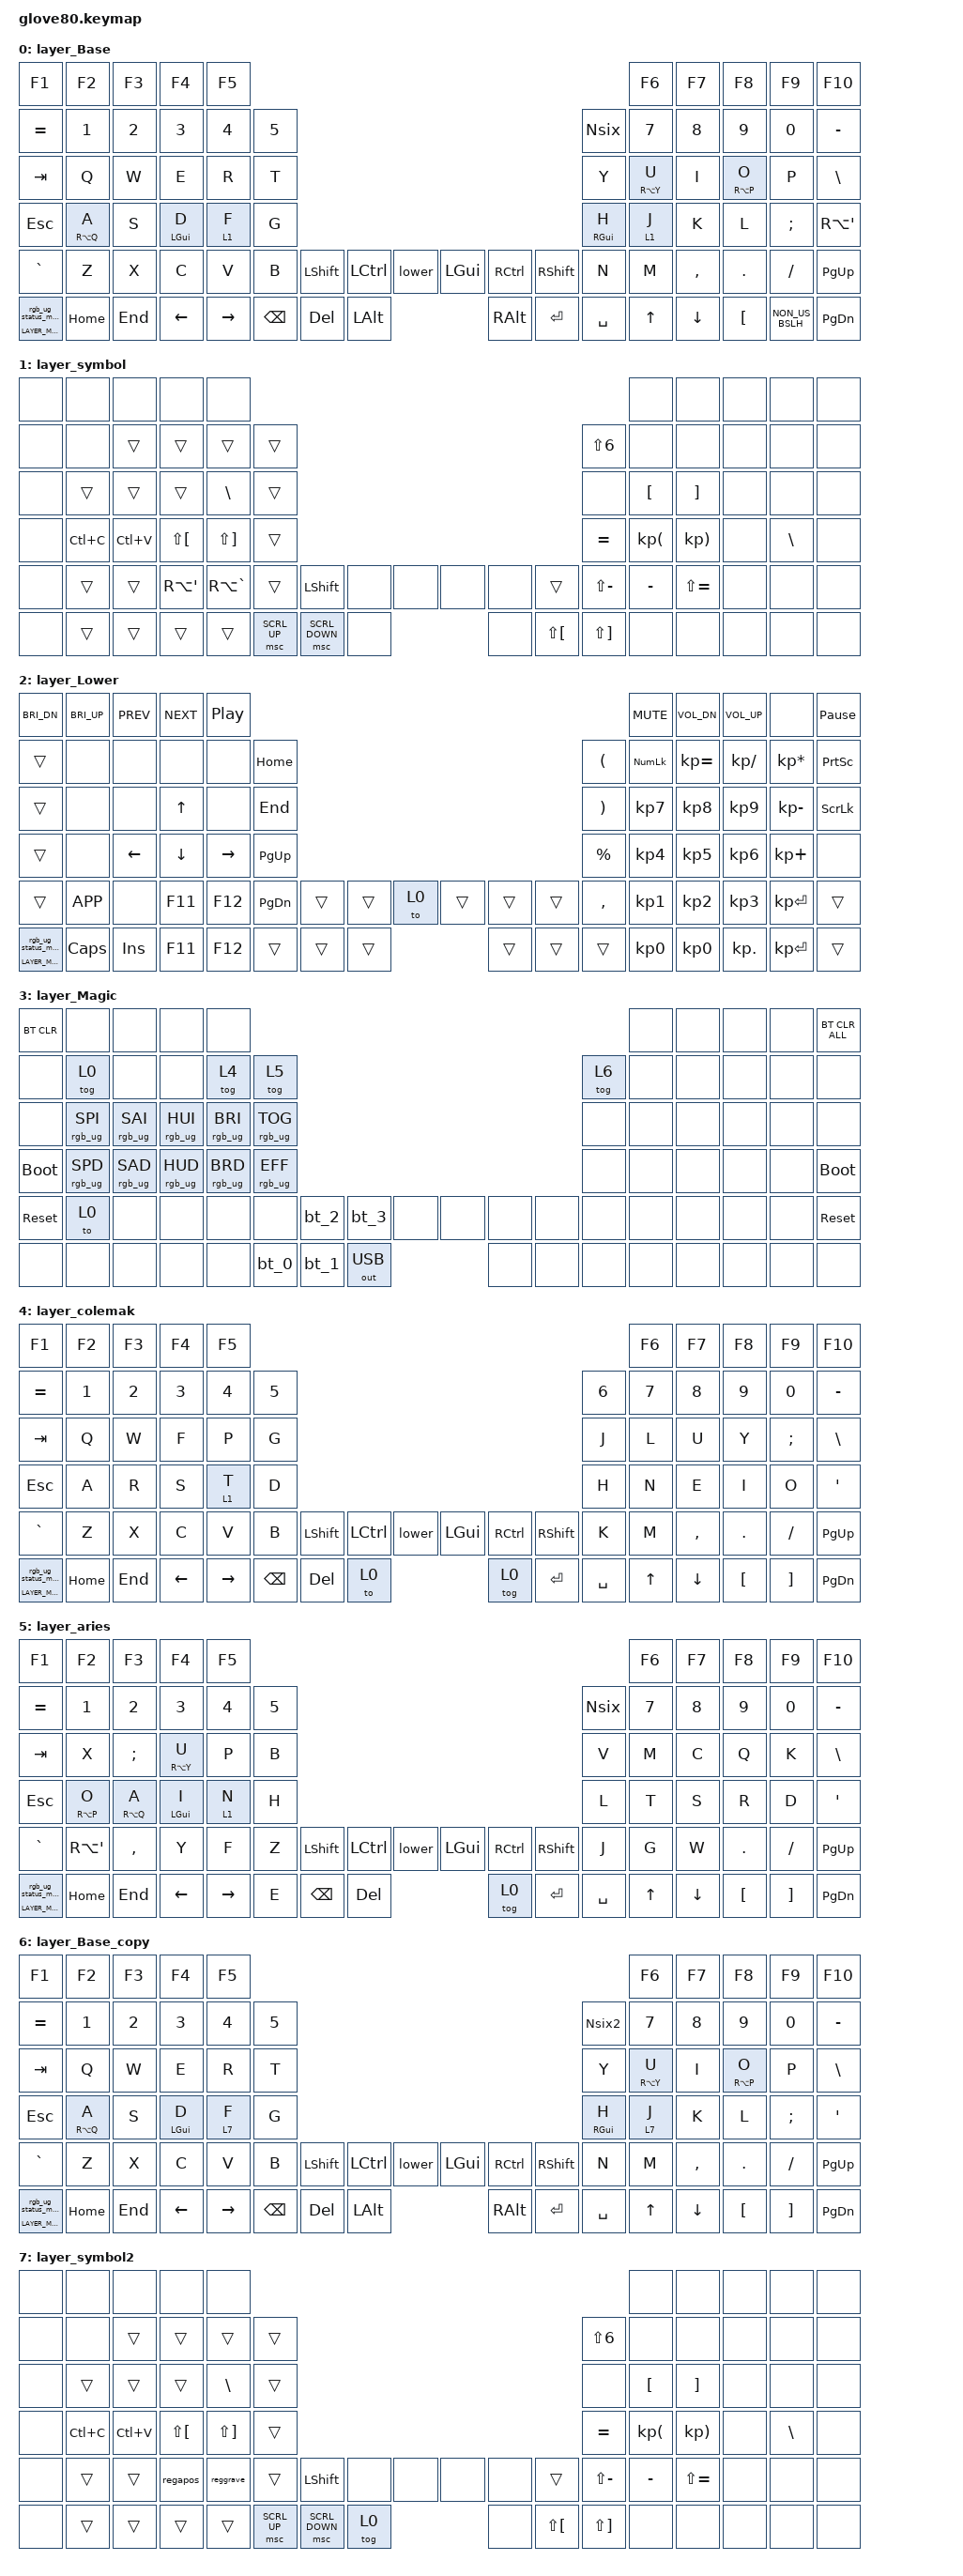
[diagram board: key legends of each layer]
/*
 * Copyright (c) 2020 The ZMK Contributors
 * Copyright (c) 2025 Innaworks Development Limited, trading as MoErgo
 *
 * SPDX-License-Identifier: MIT
 */


/* THIS FILE WAS GENERATED BY GLOVE80 LAYOUT EDITOR
 *
 * This file was generated automatically. You may or may not want to
 * edit it directly.
 */

#include <behaviors.dtsi>
/* Include all behavior includes needed */
#include <dt-bindings/zmk/outputs.h>
#include <dt-bindings/zmk/keys.h>
#include <dt-bindings/zmk/bt.h>
#include <dt-bindings/zmk/rgb.h>

/* On demand includes */
#include <dt-bindings/zmk/pointing.h>

/* Automatically generated layer name #define */
#define LAYER_Base 0
#define LAYER_symbol 1
#define LAYER_Lower 2
#define LAYER_Magic 3
#define LAYER_colemak 4
#define LAYER_aries 5
#define LAYER_Base_copy 6
#define LAYER_symbol2 7

/* To deal with the situation where there is no Lower layer, to keep &lower happy */
#ifndef LAYER_Lower
#define LAYER_Lower 0
#endif

/* Custom Device-tree */


/* Input Listeners */


/* System behavior and Macros */
/ {
    behaviors {
        // For the "layer" key, it'd nice to be able to use it as either a shift or a toggle.
        // Configure it as a tap dance, so the first tap (or hold) is a &mo and the second tap is a &to
        lower: lower {
            compatible = "zmk,behavior-tap-dance";
            label = "LAYER_TAP_DANCE";
            #binding-cells = <0>;
            tapping-term-ms = <200>;
            bindings = <&mo LAYER_Lower>, <&to LAYER_Lower>;
        };
    };
};

/ {
    macros {
        rgb_ug_status_macro: rgb_ug_status_macro {
            label = "RGB_UG_STATUS";
            compatible = "zmk,behavior-macro";
            #binding-cells = <0>;
            bindings
                = <&rgb_ug RGB_STATUS>;
        };
    };
};


/ {
#ifdef BT_DISC_CMD
    behaviors {
        bt_0: bt_0 {
            compatible = "zmk,behavior-tap-dance";
            label = "BT_0";
            #binding-cells = <0>;
            tapping-term-ms = <200>;
            bindings = <&bt_select_0>, <&bt BT_DISC 0>;
        };
        bt_1: bt_1 {
            compatible = "zmk,behavior-tap-dance";
            label = "BT_1";
            #binding-cells = <0>;
            tapping-term-ms = <200>;
            bindings = <&bt_select_1>, <&bt BT_DISC 1>;
        };
        bt_2: bt_2 {
            compatible = "zmk,behavior-tap-dance";
            label = "BT_2";
            #binding-cells = <0>;
            tapping-term-ms = <200>;
            bindings = <&bt_select_2>, <&bt BT_DISC 2>;
        };
        bt_3: bt_3 {
            compatible = "zmk,behavior-tap-dance";
            label = "BT_3";
            #binding-cells = <0>;
            tapping-term-ms = <200>;
            bindings = <&bt_select_3>, <&bt BT_DISC 3>;
        };
    };
    macros {
        bt_select_0: bt_select_0 {
            label = "BT_SELECT_0";
            compatible = "zmk,behavior-macro";
            #binding-cells = <0>;
            bindings
                = <&out OUT_BLE>,
                  <&bt BT_SEL 0>;
        };
        bt_select_1: bt_select_1 {
            label = "BT_SELECT_1";
            compatible = "zmk,behavior-macro";
            #binding-cells = <0>;
            bindings
                = <&out OUT_BLE>,
                  <&bt BT_SEL 1>;
        };
        bt_select_2: bt_select_2 {
            label = "BT_SELECT_2";
            compatible = "zmk,behavior-macro";
            #binding-cells = <0>;
            bindings
                = <&out OUT_BLE>,
                  <&bt BT_SEL 2>;
        };
        bt_select_3: bt_select_3 {
            label = "BT_SELECT_3";
            compatible = "zmk,behavior-macro";
            #binding-cells = <0>;
            bindings
                = <&out OUT_BLE>,
                  <&bt BT_SEL 3>;
        };
    };
#else
    macros {
        bt_0: bt_0 {
            label = "BT_0";
            compatible = "zmk,behavior-macro";
            #binding-cells = <0>;
            bindings
                = <&out OUT_BLE>,
                  <&bt BT_SEL 0>;
        };
        bt_1: bt_1 {
            label = "BT_1";
            compatible = "zmk,behavior-macro";
            #binding-cells = <0>;
            bindings
                = <&out OUT_BLE>,
                  <&bt BT_SEL 1>;
        };
        bt_2: bt_2 {
            label = "BT_2";
            compatible = "zmk,behavior-macro";
            #binding-cells = <0>;
            bindings
                = <&out OUT_BLE>,
                  <&bt BT_SEL 2>;
        };
        bt_3: bt_3 {
            label = "BT_3";
            compatible = "zmk,behavior-macro";
            #binding-cells = <0>;
            bindings
                = <&out OUT_BLE>,
                  <&bt BT_SEL 3>;
        };
    };
#endif
};

/ {
    behaviors {
        magic: magic {
            compatible = "zmk,behavior-hold-tap";
            label = "MAGIC_HOLD_TAP";
            #binding-cells = <2>;
            flavor = "tap-preferred";
            tapping-term-ms = <200>;
            bindings = <&mo>, <&rgb_ug_status_macro>;
        };
    };
};

/* #define for key positions */
#define POS_LH_T1 52
#define POS_LH_T2 53
#define POS_LH_T3 54
#define POS_LH_T4 69
#define POS_LH_T5 70
#define POS_LH_T6 71
#define POS_LH_C1R2 15
#define POS_LH_C1R3 27
#define POS_LH_C1R4 39
#define POS_LH_C1R5 51
#define POS_LH_C2R1 4
#define POS_LH_C2R2 14
#define POS_LH_C2R3 26
#define POS_LH_C2R4 38
#define POS_LH_C2R5 50
#define POS_LH_C2R6 68
#define POS_LH_C3R1 3
#define POS_LH_C3R2 13
#define POS_LH_C3R3 25
#define POS_LH_C3R4 37
#define POS_LH_C3R5 49
#define POS_LH_C3R6 67
#define POS_LH_C4R1 2
#define POS_LH_C4R2 12
#define POS_LH_C4R3 24
#define POS_LH_C4R4 36
#define POS_LH_C4R5 48
#define POS_LH_C4R6 66
#define POS_LH_C5R1 1
#define POS_LH_C5R2 11
#define POS_LH_C5R3 23
#define POS_LH_C5R4 35
#define POS_LH_C5R5 47
#define POS_LH_C5R6 65
#define POS_LH_C6R1 0
#define POS_LH_C6R2 10
#define POS_LH_C6R3 22
#define POS_LH_C6R4 34
#define POS_LH_C6R5 46
#define POS_LH_C6R6 64
#define POS_RH_T1 57
#define POS_RH_T2 56
#define POS_RH_T3 55
#define POS_RH_T4 74
#define POS_RH_T5 73
#define POS_RH_T6 72
#define POS_RH_C1R2 16
#define POS_RH_C1R3 28
#define POS_RH_C1R4 40
#define POS_RH_C1R5 58
#define POS_RH_C2R1 5
#define POS_RH_C2R2 17
#define POS_RH_C2R3 29
#define POS_RH_C2R4 41
#define POS_RH_C2R5 59
#define POS_RH_C2R6 75
#define POS_RH_C3R1 6
#define POS_RH_C3R2 18
#define POS_RH_C3R3 30
#define POS_RH_C3R4 42
#define POS_RH_C3R5 60
#define POS_RH_C3R6 76
#define POS_RH_C4R1 7
#define POS_RH_C4R2 19
#define POS_RH_C4R3 31
#define POS_RH_C4R4 43
#define POS_RH_C4R5 61
#define POS_RH_C4R6 77
#define POS_RH_C5R1 8
#define POS_RH_C5R2 20
#define POS_RH_C5R3 32
#define POS_RH_C5R4 44
#define POS_RH_C5R5 62
#define POS_RH_C5R6 78
#define POS_RH_C6R1 9
#define POS_RH_C6R2 21
#define POS_RH_C6R3 33
#define POS_RH_C6R4 45
#define POS_RH_C6R5 63
#define POS_RH_C6R6 79

/* Custom Defined Behaviors */
/ {
behaviors {
         
        question: english_question {
            compatible = "zmk,behavior-mod-morph";
            #binding-cells = <0>;
            bindings = <&kp LS(KP_N7)>, <&kp LS(MINUS)>;
            mods = <(MOD_LSFT|MOD_RSFT)>;
        };
        gresc: grave_escape {
            compatible = "zmk,behavior-mod-morph";
            #binding-cells = <0>;
            bindings = <&kp ESC>, <&caret>;
            mods = <(MOD_LGUI|MOD_LSFT|MOD_RGUI|MOD_RSFT)>;
        };
        Nsix: no_6 {
            compatible = "zmk,behavior-mod-morph";
            #binding-cells = <0>;
            bindings = <&kp N6>, <&caret>;
            mods = <(MOD_LSFT|MOD_RSFT)>;
        };
   Nsix2: no_6_2 {
            compatible = "zmk,behavior-mod-morph";
            #binding-cells = <0>;
            bindings = <&kp N6>, <&caret2>;
            mods = <(MOD_LSFT|MOD_RSFT)>;
        };
};
};

/* Automatically generated macro definitions */
/ {
    macros {

        caret: caret {
            label = "&CARET";
            compatible = "zmk,behavior-macro";
            #binding-cells = <0>;
            bindings = <&kp LS(N6)>
                , <&kp LS(N6)>;
        };

        regapos: regapos {
            label = "&REGAPOS";
            compatible = "zmk,behavior-macro";
            #binding-cells = <0>;
            bindings = <&kp SQT>
                , <&kp SPACE>;
        };

        reggrave: reggrave {
            label = "&REGGRAVE";
            compatible = "zmk,behavior-macro";
            #binding-cells = <0>;
            bindings = <&kp GRAVE>
                , <&kp SPACE>;
        };

        caret2: caret2 {
            label = "&CARET2";
            compatible = "zmk,behavior-macro";
            #binding-cells = <0>;
            bindings = <&kp LS(N6)>
                , <&kp SPACE>;
        };
    };
};

/* Automatically generated behavior definitions */
/ {
    behaviors {

        HT_MO_L: HT_MO_L {
            compatible = "zmk,behavior-hold-tap";
            #binding-cells = <2>;
            tapping-term-ms = <140>;
            bindings = <&mo>, <&kp>;
            flavor = "tap-preferred";
            hold-trigger-key-positions = <28 16 5 17 18 6 7 19 31 29 30 42 41 40 58 59 61 60 76 75 77 43 44 32 20 8 9 21 33 45 63 62 78 79 57 56 55 72 73 74>;
        };

        CTRL: CTRL {
            compatible = "zmk,behavior-hold-tap";
            #binding-cells = <2>;
            tapping-term-ms = <150>;
            bindings = <&kp>, <&kp>;
            flavor = "balanced";
            quick-tap-ms = <0>;
            hold-trigger-key-positions = <>;
        };

        HT_KP_L: HT_KP_L {
            compatible = "zmk,behavior-hold-tap";
            #binding-cells = <2>;
            tapping-term-ms = <190>;
            bindings = <&kp>, <&kp>;
            flavor = "tap-preferred";
            require-prior-idle-ms = <120>;
            hold-trigger-key-positions = <28 16 5 17 18 6 7 19 31 29 30 42 41 40 58 59 61 60 76 75 77 43 44 32 20 8 9 21 33 45 63 62 78 79 57 56 55 72 73 74>;
        };

        HT_MO_R: HT_MO_R {
            compatible = "zmk,behavior-hold-tap";
            #binding-cells = <2>;
            tapping-term-ms = <140>;
            bindings = <&mo>, <&kp>;
            flavor = "tap-preferred";
            hold-trigger-key-positions = <1 11 10 0 23 22 34 35 46 47 65 64 66 48 36 24 12 2 3 13 4 14 15 27 26 25 37 38 39 51 50 49 67 68 52 69 70 53 54 71>;
        };

        HT_KP_R: HT_KP_R {
            compatible = "zmk,behavior-hold-tap";
            #binding-cells = <2>;
            tapping-term-ms = <190>;
            bindings = <&kp>, <&kp>;
            flavor = "tap-preferred";
            require-prior-idle-ms = <120>;
            hold-trigger-key-positions = <0 1 11 10 23 22 34 35 46 64 65 47 66 36 48 24 12 2 3 4 14 13 25 26 38 37 49 68 67 50 51 39 27 15 52 69 70 53 54 71>;
        };

        umlaut: umlaut {
            compatible = "zmk,behavior-hold-tap";
            #binding-cells = <2>;
            tapping-term-ms = <350>;
            bindings = <&kp>, <&kp>;
            flavor = "tap-preferred";
            require-prior-idle-ms = <300>;
            hold-trigger-key-positions = <>;
        };
    };
};

/* Automatically generated combos definitions */
/ {
      combos {
          compatible = "zmk,combos";
                  combo_controlc {
            timeout-ms = <50>;
            key-positions = <48 49>;
            bindings = <&kp LC(C)>;
            require-prior-idle-ms = <200>;
        };

        combo_controlv {
            timeout-ms = <50>;
            key-positions = <49 50>;
            bindings = <&kp LC(V)>;
            require-prior-idle-ms = <200>;
        };
      };
    };

/* Automatically generated keymap */
/ {
    keymap {
        compatible = "zmk,keymap";


        layer_Base {
            bindings = <
               &kp F1           &kp F2   &kp F3           &kp F4        &kp F5                                                                                                    &kp F6     &kp F7           &kp F8           &kp F9      &kp F10
            &kp EQUAL           &kp N1   &kp N2           &kp N3        &kp N4  &kp N5                                                                            &Nsix           &kp N7     &kp N8           &kp N9           &kp N0    &kp MINUS
              &kp TAB            &kp Q    &kp W            &kp E         &kp R   &kp T                                                                            &kp Y  &umlaut RA(Y) U      &kp I  &umlaut RA(P) O            &kp P     &kp BSLH
              &kp ESC  &umlaut RA(Q) A    &kp S  &HT_KP_L LGUI D  &HT_MO_L 1 F   &kp G                                                                  &HT_KP_R RGUI H     &HT_MO_R 1 J      &kp K            &kp L         &kp SEMI  &kp RA(SQT)
            &kp GRAVE            &kp Z    &kp X            &kp C         &kp V   &kp B  &kp LSHFT  &kp LCTRL    &lower  &kp LGUI  &kp RCTRL  &kp RSHFT            &kp N            &kp M  &kp COMMA          &kp DOT         &kp FSLH    &kp PG_UP
 &magic LAYER_Magic 0         &kp HOME  &kp END         &kp LEFT     &kp RIGHT           &kp BSPC    &kp DEL  &kp LALT  &kp RALT    &kp RET  &kp SPACE                            &kp UP   &kp DOWN         &kp LBKT  &kp NON_US_BSLH    &kp PG_DN
            >;
        };

        layer_symbol {
            bindings = <
  &none      &none      &none         &none          &none                                                                                                         &none          &none   &none     &none   &none
  &none      &none     &trans        &trans         &trans  &trans                                                                               &kp LS(N6)        &none          &none   &none     &none   &none
  &none     &trans     &trans        &trans       &kp BSLH  &trans                                                                                    &none     &kp LBKT       &kp RBKT   &none     &none   &none
  &none  &kp LC(C)  &kp LC(V)  &kp LS(LBKT)   &kp LS(RBKT)  &trans                                                                                &kp EQUAL  &kp KP_LPAR    &kp KP_RPAR   &none  &kp BSLH   &none
  &none     &trans     &trans   &kp RA(SQT)  &kp RA(GRAVE)  &trans     &kp LSHFT           &none   &none   &none         &none        &trans  &kp LS(MINUS)    &kp MINUS  &kp LS(EQUAL)   &none     &none   &none
  &none     &trans     &trans        &trans         &trans          &msc SCRL_UP  &msc SCRL_DOWN   &none   &none  &kp LS(LBKT)  &kp LS(RBKT)                       &none          &none   &none     &none   &none
            >;
        };

        layer_Lower {
            bindings = <
         &kp C_BRI_DN  &kp C_BRI_UP      &kp C_PREV      &kp C_NEXT         &kp C_PP                                                                                    &kp C_MUTE  &kp C_VOL_DN  &kp C_VOL_UP            &none  &kp PAUSE_BREAK
               &trans         &none           &none           &none            &none   &kp HOME                                                   &kp LEFT_PARENTHESIS  &kp KP_NUM  &kp KP_EQUAL  &kp KP_SLASH  &kp KP_MULTIPLY  &kp PRINTSCREEN
               &trans         &none           &none    &kp UP_ARROW            &none    &kp END                                                  &kp RIGHT_PARENTHESIS   &kp KP_N7     &kp KP_N8     &kp KP_N9     &kp KP_MINUS   &kp SCROLLLOCK
               &trans         &none  &kp LEFT_ARROW  &kp DOWN_ARROW  &kp RIGHT_ARROW  &kp PG_UP                                                            &kp PERCENT   &kp KP_N4     &kp KP_N5     &kp KP_N6      &kp KP_PLUS            &none
               &trans     &kp K_APP           &none         &kp F11          &kp F12  &kp PG_DN  &trans  &trans   &to 0  &trans  &trans  &trans              &kp COMMA   &kp KP_N1     &kp KP_N2     &kp KP_N3     &kp KP_ENTER           &trans
 &magic LAYER_Magic 0      &kp CAPS         &kp INS         &kp F11          &kp F12             &trans  &trans  &trans  &trans  &trans  &trans                          &kp KP_N0     &kp KP_N0    &kp KP_DOT     &kp KP_ENTER           &trans
            >;
        };

        layer_Magic {
            bindings = <
  &bt BT_CLR            &none            &none            &none            &none                                                                                  &none   &none   &none   &none  &bt BT_CLR_ALL
       &none           &tog 0            &none            &none           &tog 4           &tog 5                                                        &tog 6   &none   &none   &none   &none           &none
       &none  &rgb_ug RGB_SPI  &rgb_ug RGB_SAI  &rgb_ug RGB_HUI  &rgb_ug RGB_BRI  &rgb_ug RGB_TOG                                                         &none   &none   &none   &none   &none           &none
 &bootloader  &rgb_ug RGB_SPD  &rgb_ug RGB_SAD  &rgb_ug RGB_HUD  &rgb_ug RGB_BRD  &rgb_ug RGB_EFF                                                         &none   &none   &none   &none   &none     &bootloader
  &sys_reset            &to 0            &none            &none            &none            &none   &bt_2   &bt_3         &none   &none   &none   &none   &none   &none   &none   &none   &none      &sys_reset
       &none            &none            &none            &none            &none                    &bt_0   &bt_1  &out OUT_USB   &none   &none   &none           &none   &none   &none   &none           &none
            >;
        };

        layer_colemak {
            bindings = <
               &kp F1    &kp F2   &kp F3    &kp F4        &kp F5                                                                                &kp F6     &kp F7    &kp F8    &kp F9    &kp F10
            &kp EQUAL    &kp N1   &kp N2    &kp N3        &kp N4  &kp N5                                                                &kp N6  &kp N7     &kp N8    &kp N9    &kp N0  &kp MINUS
              &kp TAB     &kp Q    &kp W     &kp F         &kp P   &kp G                                                                 &kp J   &kp L      &kp U     &kp Y  &kp SEMI   &kp BSLH
              &kp ESC     &kp A    &kp R     &kp S  &HT_MO_L 1 T   &kp D                                                                 &kp H   &kp N      &kp E     &kp I     &kp O    &kp SQT
            &kp GRAVE     &kp Z    &kp X     &kp C         &kp V   &kp B  &kp LSHFT  &kp LCTRL  &lower  &kp LGUI  &kp RCTRL  &kp RSHFT   &kp K   &kp M  &kp COMMA   &kp DOT  &kp FSLH  &kp PG_UP
 &magic LAYER_Magic 0  &kp HOME  &kp END  &kp LEFT     &kp RIGHT           &kp BSPC    &kp DEL   &to 0    &tog 0    &kp RET  &kp SPACE          &kp UP   &kp DOWN  &kp LBKT  &kp RBKT  &kp PG_DN
            >;
        };

        layer_aries {
            bindings = <
               &kp F1           &kp F2           &kp F3           &kp F4        &kp F5                                                                                 &kp F6    &kp F7    &kp F8    &kp F9    &kp F10
            &kp EQUAL           &kp N1           &kp N2           &kp N3        &kp N4  &kp N5                                                                  &Nsix  &kp N7    &kp N8    &kp N9    &kp N0  &kp MINUS
              &kp TAB            &kp X         &kp SEMI  &umlaut RA(Y) U         &kp P   &kp B                                                                  &kp V   &kp M     &kp C     &kp Q     &kp K   &kp BSLH
              &kp ESC  &umlaut RA(P) O  &umlaut RA(Q) A  &HT_KP_L LGUI I  &HT_MO_L 1 N   &kp H                                                                  &kp L   &kp T     &kp S     &kp R     &kp D    &kp SQT
            &kp GRAVE      &kp RA(SQT)        &kp COMMA            &kp Y         &kp F   &kp Z  &kp LSHFT  &kp LCTRL   &lower  &kp LGUI  &kp RCTRL  &kp RSHFT   &kp J   &kp G     &kp W   &kp DOT  &kp FSLH  &kp PG_UP
 &magic LAYER_Magic 0         &kp HOME          &kp END         &kp LEFT     &kp RIGHT              &kp E   &kp BSPC  &kp DEL    &tog 0    &kp RET  &kp SPACE          &kp UP  &kp DOWN  &kp LBKT  &kp RBKT  &kp PG_DN
            >;
        };

        layer_Base_copy {
            bindings = <
               &kp F1           &kp F2   &kp F3           &kp F4        &kp F5                                                                                                    &kp F6     &kp F7           &kp F8    &kp F9    &kp F10
            &kp EQUAL           &kp N1   &kp N2           &kp N3        &kp N4  &kp N5                                                                           &Nsix2           &kp N7     &kp N8           &kp N9    &kp N0  &kp MINUS
              &kp TAB            &kp Q    &kp W            &kp E         &kp R   &kp T                                                                            &kp Y  &umlaut RA(Y) U      &kp I  &umlaut RA(P) O     &kp P   &kp BSLH
              &kp ESC  &umlaut RA(Q) A    &kp S  &HT_KP_L LGUI D  &HT_MO_L 7 F   &kp G                                                                  &HT_KP_R RGUI H     &HT_MO_R 7 J      &kp K            &kp L  &kp SEMI    &kp SQT
            &kp GRAVE            &kp Z    &kp X            &kp C         &kp V   &kp B  &kp LSHFT  &kp LCTRL    &lower  &kp LGUI  &kp RCTRL  &kp RSHFT            &kp N            &kp M  &kp COMMA          &kp DOT  &kp FSLH  &kp PG_UP
 &magic LAYER_Magic 0         &kp HOME  &kp END         &kp LEFT     &kp RIGHT           &kp BSPC    &kp DEL  &kp LALT  &kp RALT    &kp RET  &kp SPACE                            &kp UP   &kp DOWN         &kp LBKT  &kp RBKT  &kp PG_DN
            >;
        };

        layer_symbol2 {
            bindings = <
  &none      &none      &none         &none         &none                                                                                                         &none          &none   &none     &none   &none
  &none      &none     &trans        &trans        &trans  &trans                                                                               &kp LS(N6)        &none          &none   &none     &none   &none
  &none     &trans     &trans        &trans      &kp BSLH  &trans                                                                                    &none     &kp LBKT       &kp RBKT   &none     &none   &none
  &none  &kp LC(C)  &kp LC(V)  &kp LS(LBKT)  &kp LS(RBKT)  &trans                                                                                &kp EQUAL  &kp KP_LPAR    &kp KP_RPAR   &none  &kp BSLH   &none
  &none     &trans     &trans      &regapos     &reggrave  &trans     &kp LSHFT           &none   &none   &none         &none        &trans  &kp LS(MINUS)    &kp MINUS  &kp LS(EQUAL)   &none     &none   &none
  &none     &trans     &trans        &trans        &trans          &msc SCRL_UP  &msc SCRL_DOWN  &tog 0   &none  &kp LS(LBKT)  &kp LS(RBKT)                       &none          &none   &none     &none   &none
            >;
        };

    };
};
